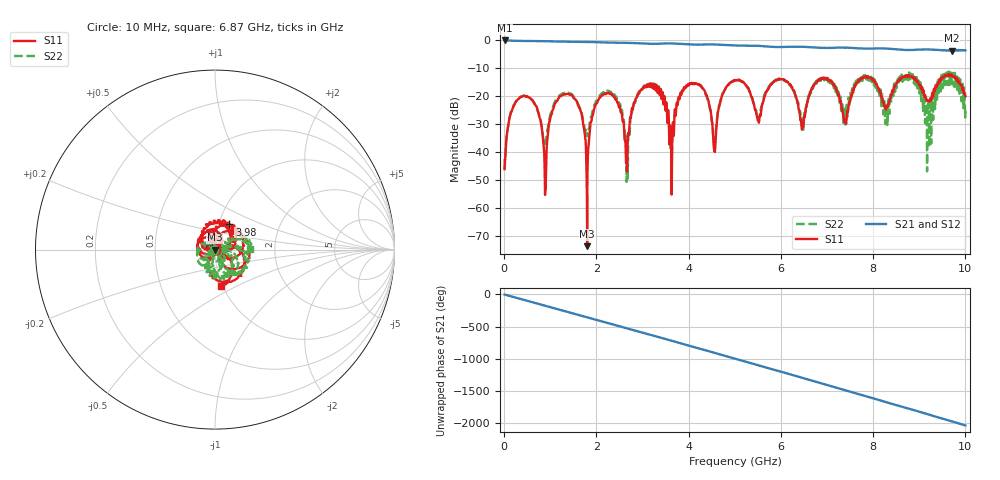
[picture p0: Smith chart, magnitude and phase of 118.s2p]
!Keysight Technologies,E5080B,MY59205177,A.15.75.32
!Date: Friday, February 23, 2024 03:37:37
!Correction: S11(Cdelta 2-Port  )
!S21(Cdelta 2-Port  )
!S12(Cdelta 2-Port  )
!S22(Cdelta 2-Port  )
!S2P File: Measurements: S11, S21, S12, S22:
# Hz S  dB  R 50
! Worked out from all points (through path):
!   10001 points, 10 MHz to 10 GHz, reference 50 ohm
!   highest |S21| = -0.01 dB at 14 MHz (marker M1); lowest = -3.7 dB at 9.701 GHz (marker M2)
!   group delay of S21, straight-line fit = 565 ps
!   lowest |S11| = -73.8 dB at 1.799 GHz (marker M3), VSWR 1.00, Z = 50 + j0.00263 ohm
!   |S11| at or under -10 dB: start of sweep to end of sweep
!   |S22| runs from -50.7 to -11.1 dB; largest |S21 - S12| = 0.0016
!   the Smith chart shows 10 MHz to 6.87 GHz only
!   S11 on the Smith chart (normalised r, x): 10 MHz: 1.01, -0.00; 3.98 GHz: 1.13, +0.32; 6.87 GHz: 0.97, -0.41
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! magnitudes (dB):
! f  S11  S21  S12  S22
! 10 MHz  -46.2  0.0  0.0  -45.9
! 14 MHz  -43.3  0.0  0.0  -45.4
! 374.6 MHz  -20.2  -0.2  -0.2  -20.1
! 888.1 MHz  -54.6  -0.3  -0.3  -36.9
! 1.177 GHz  -20.8  -0.4  -0.4  -20.2
! 1.675 GHz  -26.2  -0.5  -0.5  -25.6
! 1.799 GHz  -73.8  -0.5  -0.5  -33.3
! 2.108 GHz  -19.8  -0.7  -0.7  -19.0
! 2.662 GHz  -46.8  -0.9  -0.9  -44.0
! 2.892 GHz  -19.3  -1.0  -1.0  -20.1
! 3.341 GHz  -17.4  -1.2  -1.2  -17.7
! 3.627 GHz  -47.1  -1.1  -1.1  -41.9
! 3.98 GHz  -15.8  -1.4  -1.4  -15.9
! 4.561 GHz  -39.6  -1.5  -1.4  -38.6
! 5.005 GHz  -14.2  -1.8  -1.8  -14.5
! 6.107 GHz  -14.7  -2.3  -2.3  -14.8
! 6.464 GHz  -31.5  -2.3  -2.3  -27.9
! 6.67 GHz  -17.3  -2.5  -2.5  -17.0
! 6.87 GHz  -13.9  -2.7  -2.6  -13.9
! 8.336 GHz  -22.7  -3.0  -3.0  -20.9
! 9.701 GHz  -12.2  -3.7  -3.7  -13.8
! 10 GHz  -20.0  -3.6  -3.6  -25.4
